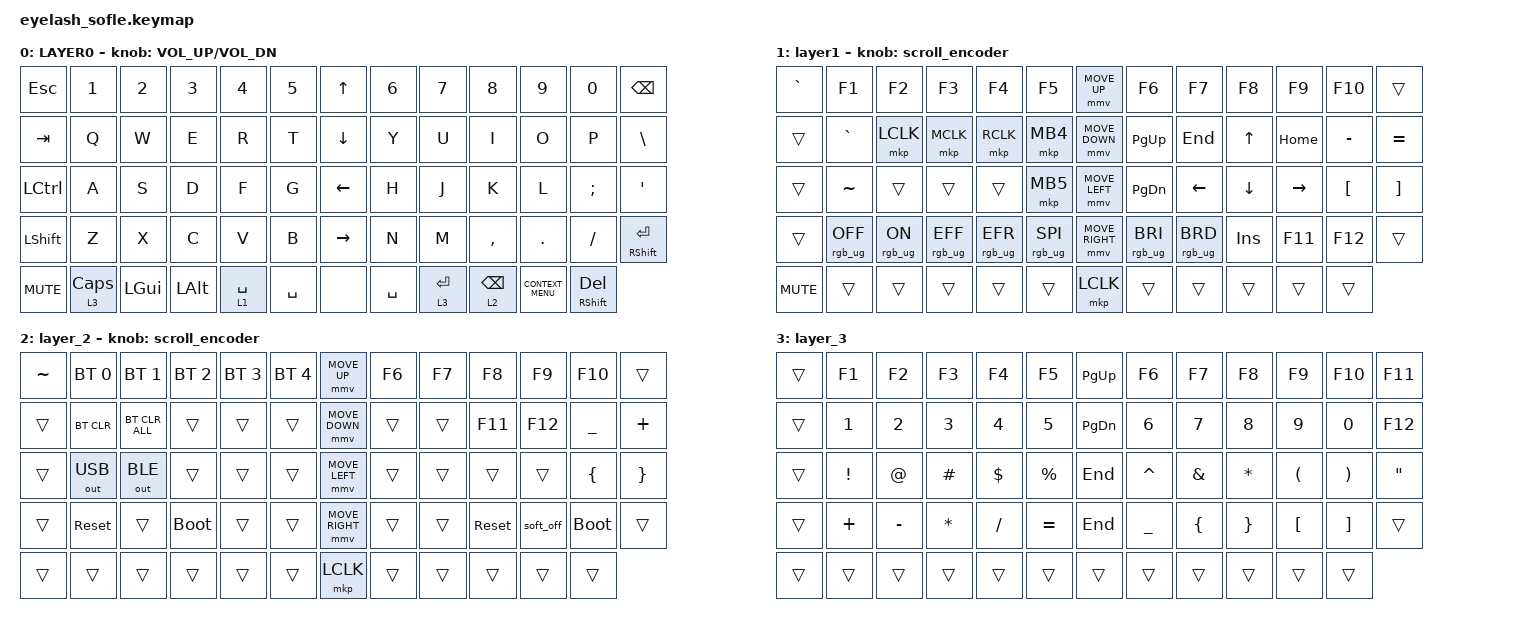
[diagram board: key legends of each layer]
#define ZMK_POINTING_DEFAULT_MOVE_VAL 1200  // 600
#define ZMK_POINTING_DEFAULT_SCRL_VAL 25   // 10

#include <input/processors.dtsi>
#include <zephyr/dt-bindings/input/input-event-codes.h>
#include <behaviors.dtsi>
#include <dt-bindings/zmk/bt.h>
#include <dt-bindings/zmk/keys.h>
#include <dt-bindings/zmk/outputs.h>
#include <dt-bindings/zmk/pointing.h>
#include <dt-bindings/zmk/rgb.h>

&mmv_input_listener { input-processors = <&zip_xy_scaler 2 1>; };

&msc_input_listener { input-processors = <&zip_scroll_scaler 2 1>; };

&msc {
    acceleration-exponent = <1>;      // 0
    time-to-max-speed-ms = <100>;       // 300
    delay-ms = <0>;                   // 0
};

&mmv {
    time-to-max-speed-ms = <500>;
    acceleration-exponent = <1>;
    trigger-period-ms = <16>;
};

/ {
    scroll_encoder: scroll_encoder {
        compatible = "zmk,behavior-sensor-rotate";
        #sensor-binding-cells = <0>;
        bindings = <&msc SCRL_DOWN>, <&msc SCRL_UP>;

        tap-ms = <100>;
    };

    behaviors {
    };

    keymap {
        compatible = "zmk,keymap";

        layer0 {
            bindings = <
&kp ESC     &kp N1      &kp N2        &kp N3        &kp N4       &kp N5       &kp UP_ARROW     &kp N6     &kp N7       &kp N8           &kp N9              &kp N0                  &kp BACKSPACE
&kp TAB     &kp Q       &kp W         &kp E         &kp R        &kp T        &kp DOWN_ARROW   &kp Y      &kp U        &kp I            &kp O               &kp P                   &kp BSLH
&kp LCTRL   &kp A       &kp S         &kp D         &kp F        &kp G        &kp LEFT_ARROW   &kp H      &kp J        &kp K            &kp L               &kp SEMI                &kp APOS
&kp LSHFT   &kp Z       &kp X         &kp C         &kp V        &kp B        &kp RIGHT_ARROW  &kp N      &kp M        &kp COMMA        &kp DOT             &kp FSLH                &mt RIGHT_SHIFT ENTER
&kp C_MUTE  &lt 3 CAPS  &kp LEFT_GUI  &kp LEFT_ALT  &lt 1 SPACE  &kp SPACE    &none            &kp SPACE  &lt 3 ENTER  &lt 2 BACKSPACE  &kp K_CONTEXT_MENU  &mt RIGHT_SHIFT DELETE
            >;

            sensor-bindings = <&inc_dec_kp C_VOLUME_UP C_VOL_DN>;
            display-name = "LAYER0";
        };

        layer_1 {
            bindings = <
&kp GRAVE   &kp F1           &kp F2          &kp F3           &kp F4           &kp F5             &mmv MOVE_UP     &kp F6           &kp F7           &kp F8      &kp F9     &kp F10           &trans
&trans      &kp GRAVE        &mkp LCLK       &mkp MCLK        &mkp RCLK        &mkp MB4           &mmv MOVE_DOWN   &kp PG_UP        &kp END          &kp UP      &kp HOME   &kp MINUS         &kp EQUAL
&trans      &kp TILDE        &trans          &trans           &trans           &mkp MB5           &mmv MOVE_LEFT   &kp PG_DN        &kp LEFT         &kp DOWN    &kp RIGHT  &kp LEFT_BRACKET  &kp RIGHT_BRACKET
&trans      &rgb_ug RGB_OFF  &rgb_ug RGB_ON  &rgb_ug RGB_EFF  &rgb_ug RGB_EFR  &rgb_ug RGB_SPI    &mmv MOVE_RIGHT  &rgb_ug RGB_BRI  &rgb_ug RGB_BRD  &kp INSERT  &kp F11    &kp F12           &trans
&kp C_MUTE  &trans           &trans          &trans           &trans           &trans             &mkp LCLK        &trans           &trans           &trans      &trans     &trans
            >;

            display-name = "layer1";
            sensor-bindings = <&scroll_encoder>;
        };

        layer_2 {
            bindings = <
&kp TILDE  &bt BT_SEL 0  &bt BT_SEL 1    &bt BT_SEL 2  &bt BT_SEL 3  &bt BT_SEL 4    &mmv MOVE_UP     &kp F6  &kp F7  &kp F8      &kp F9     &kp F10      &trans
&trans     &bt BT_CLR    &bt BT_CLR_ALL  &trans        &trans        &trans          &mmv MOVE_DOWN   &trans  &trans  &kp F11     &kp F12    &kp UNDER    &kp PLUS
&trans     &out OUT_USB  &out OUT_BLE    &trans        &trans        &trans          &mmv MOVE_LEFT   &trans  &trans  &trans      &trans     &kp LBRC     &kp RBRC
&trans     &sys_reset    &trans          &bootloader   &trans        &trans          &mmv MOVE_RIGHT  &trans  &trans  &sys_reset  &soft_off  &bootloader  &trans
&trans     &trans        &trans          &trans        &trans        &trans          &mkp LCLK        &trans  &trans  &trans      &trans     &trans
            >;

            sensor-bindings = <&scroll_encoder>;
        };

        layer_3 {
            bindings = <
&trans  &kp F1           &kp F2        &kp F3        &kp F4        &kp F5          &kp PAGE_UP    &kp F6          &kp F7          &kp F8           &kp F9                &kp F10                &kp F11
&trans  &kp NUMBER_1     &kp NUMBER_2  &kp NUMBER_3  &kp NUMBER_4  &kp NUMBER_5    &kp PAGE_DOWN  &kp NUMBER_6    &kp NUMBER_7    &kp NUMBER_8     &kp NUMBER_9          &kp NUMBER_0           &kp F12
&trans  &kp EXCLAMATION  &kp AT_SIGN   &kp HASH      &kp DOLLAR    &kp PERCENT     &kp END        &kp CARET       &kp AMPERSAND   &kp ASTERISK     &kp LEFT_PARENTHESIS  &kp RIGHT_PARENTHESIS  &kp DOUBLE_QUOTES
&trans  &kp PLUS         &kp MINUS     &kp ASTERISK  &kp SLASH     &kp EQUAL       &kp END        &kp UNDERSCORE  &kp LEFT_BRACE  &kp RIGHT_BRACE  &kp LEFT_BRACKET      &kp RIGHT_BRACKET      &trans
&trans  &trans           &trans        &trans        &trans        &trans          &trans         &trans          &trans          &trans           &trans                &trans
            >;
        };
    };
};
